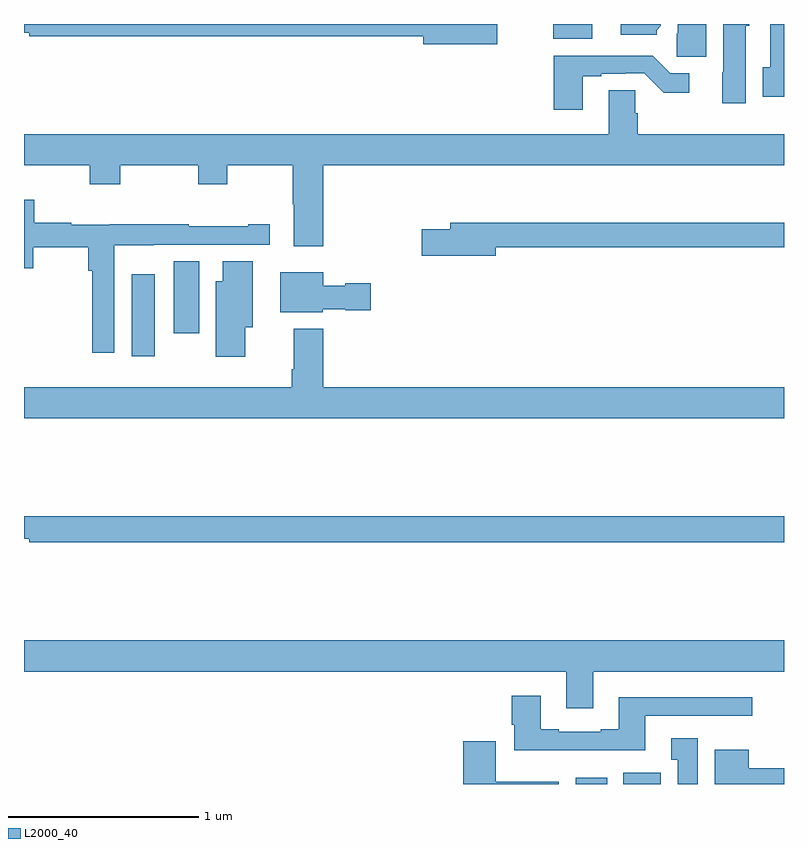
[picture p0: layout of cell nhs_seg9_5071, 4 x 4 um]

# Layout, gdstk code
import gdstk
lib = gdstk.Library(unit=1e-6, precision=1e-09)
def R(c, l, rs):  # rectangles x0, y0, x1, y1
    for r in rs: c.add(gdstk.rectangle(r[:2], r[2:], *l))
def P(c, l, *ps):  # polygons
    for p in ps: c.add(gdstk.Polygon(p, *l))
L2000_40 = (2000, 40)

nhs_seg9_5071 = lib.new_cell('nhs_seg9_5071')
R(nhs_seg9_5071, L2000_40, [(407.903,1190.5,408.07,1190.533), (408.155,1190.5,408.352,1190.56), (405.566,1192.752,405.688,1193.182), (405.788,1192.872,405.922,1193.252), (407.786,1194.422,407.992,1194.5)])
P(nhs_seg9_5071, L2000_40, [(408.799,1194.492),(408.817,1194.492),(408.817,1194.5),(408.68,1194.5),(408.68,1194.246),(408.674,1194.246),(408.674,1194.084),(408.799,1194.084)],
  [(408.592,1194.5),(408.44,1194.5),(408.44,1194.45),(408.436,1194.45),(408.436,1194.327),(408.592,1194.327)],
  [(407.491,1194.5),(405,1194.5),(405,1194.455),(405.028,1194.455),(405.028,1194.436),(407.102,1194.436),(407.102,1194.394),(407.491,1194.394)],
  [(409,1194.5),(408.927,1194.5),(408.927,1194.273),(408.887,1194.273),(408.887,1194.117),(409,1194.117)],
  [(408.33,1194.468),(408.352,1194.49),(408.352,1194.5),(408.14,1194.5),(408.14,1194.443),(408.33,1194.443)],
  [(407.941,1194.225),(408.037,1194.225),(408.037,1194.237),(408.164,1194.237),(408.164,1194.24),(408.264,1194.24),(408.367,1194.138),(408.502,1194.138),(408.502,1194.24),(408.402,1194.24),(408.308,1194.334),(407.789,1194.334),(407.789,1194.048),(407.941,1194.048)],
  [(406.574,1193.756),(409,1193.756),(409,1193.92),(408.23,1193.92),(408.23,1194.03),(408.216,1194.03),(408.216,1194.152),(408.077,1194.152),(408.077,1193.92),(405,1193.92),(405,1193.756),(405.347,1193.756),(405.347,1193.657),(405.507,1193.657),(405.507,1193.756),(405.916,1193.756),(405.916,1193.657),(406.071,1193.657),(406.071,1193.756),(406.414,1193.756),(406.414,1193.552),(406.421,1193.552),(406.421,1193.331),(406.574,1193.331)],
  [(405.474,1193.336),(405.684,1193.336),(405.684,1193.337),(406.294,1193.337),(406.294,1193.446),(406.181,1193.446),(406.181,1193.436),(405.866,1193.436),(405.866,1193.446),(405.45,1193.446),(405.45,1193.444),(405.248,1193.444),(405.248,1193.455),(405.053,1193.455),(405.053,1193.575),(405,1193.575),(405,1193.214),(405.048,1193.214),(405.048,1193.326),(405.337,1193.326),(405.337,1193.201),(405.358,1193.201),(405.358,1192.77),(405.474,1192.77)],
  [(407.482,1193.326),(409,1193.326),(409,1193.455),(407.243,1193.455),(407.243,1193.421),(407.094,1193.421),(407.094,1193.279),(407.482,1193.279)],
  [(406.165,1192.904),(406.204,1192.904),(406.204,1193.252),(406.046,1193.252),(406.046,1193.146),(406.01,1193.146),(406.01,1192.749),(406.165,1192.749)],
  [(406.572,1193),(406.692,1193),(406.692,1192.993),(406.825,1192.993),(406.825,1193.135),(406.692,1193.135),(406.692,1193.122),(406.576,1193.122),(406.576,1193.194),(406.349,1193.194),(406.349,1192.982),(406.572,1192.982)],
  [(409,1192.588),(406.574,1192.588),(406.574,1192.897),(406.421,1192.897),(406.421,1192.684),(406.409,1192.684),(406.409,1192.588),(405,1192.588),(405,1192.424),(409,1192.424)],
  [(409,1191.908),(405,1191.908),(405,1191.791),(405.028,1191.791),(405.028,1191.772),(409,1191.772)],
  [(407.995,1191.092),(409,1191.092),(409,1191.256),(405,1191.256),(405,1191.092),(407.855,1191.092),(407.855,1190.898),(407.995,1190.898)],
  [(408.271,1190.859),(408.832,1190.859),(408.832,1190.956),(408.131,1190.956),(408.131,1190.788),(408.035,1190.788),(408.035,1190.775),(407.815,1190.775),(407.815,1190.788),(407.719,1190.788),(407.719,1190.965),(407.567,1190.965),(407.567,1190.812),(407.579,1190.812),(407.579,1190.678),(408.271,1190.678)],
  [(408.547,1190.74),(408.407,1190.74),(408.407,1190.627),(408.44,1190.627),(408.44,1190.5),(408.547,1190.5)],
  [(407.815,1190.512),(407.482,1190.512),(407.482,1190.725),(407.312,1190.725),(407.312,1190.5),(407.815,1190.5)],
  [(409,1190.582),(408.814,1190.582),(408.814,1190.68),(408.635,1190.68),(408.635,1190.5),(409,1190.5)])

lib.write_gds('nhs_seg9_5071.gds')
